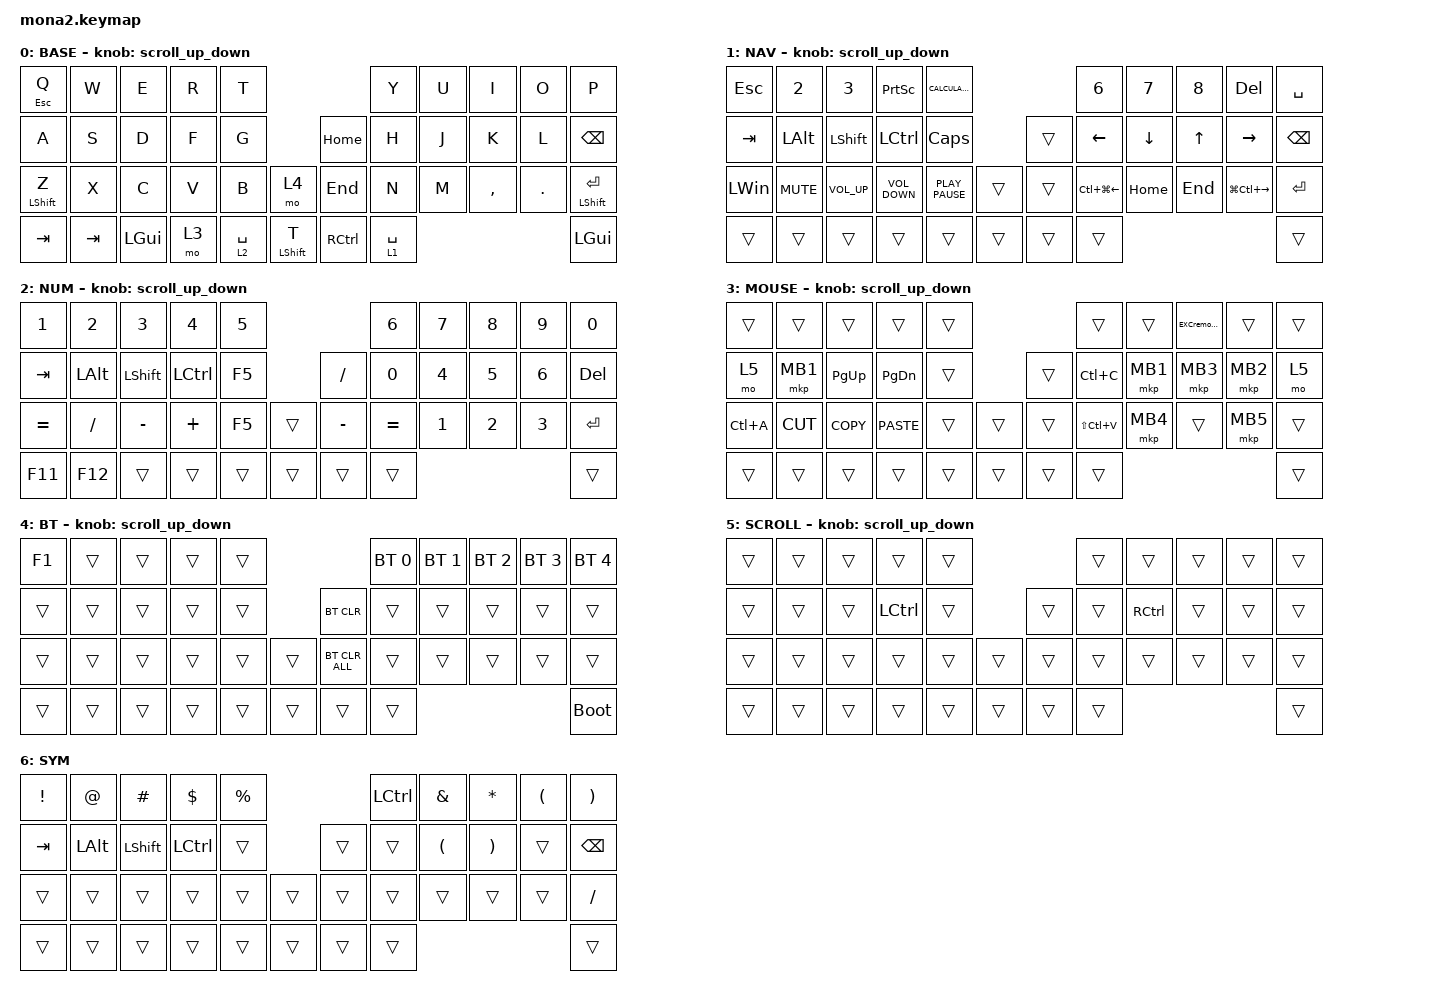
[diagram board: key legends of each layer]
/*
 * SPDX-License-Identifier: MIT
 */

#include <input/processors.dtsi>
#include <dt-bindings/zmk/input_transform.h>
#include <zephyr/dt-bindings/input/input-event-codes.h>
#include <behaviors.dtsi>
#include <dt-bindings/zmk/bt.h>
#include <dt-bindings/zmk/keys.h>
#include <dt-bindings/zmk/pointing.h>

/ {
    combos {
        compatible = "zmk,combos";

        combo2 {
            bindings = <&shortpass>;
            key-positions = <10 11 12 13 17>;
        };

        combo3 {
            bindings = <&longpass>;
            key-positions = <12 13 10 11 17 18 19 20>;
        };

        combo4 {
            bindings = <&mo 5>;
            key-positions = <18 19>;
        };

        combo6 {
            bindings = <&kp RIGHT_BRACE>;
            key-positions = <29 30>;
        };

        combo7 {
            bindings = <&kp NON_US_BACKSLASH>;
            key-positions = <4 5>;
        };

        combo8 {
            bindings = <&kp PIPE>;
            key-positions = <14 15>;
        };

        combo9 {
            bindings = <&kp ENTER>;
            key-positions = <19 20>;
        };

        combo10 {
            bindings = <&mo 5>;
            key-positions = <11 12>;
        };
    };

    behaviors {
        hm: hm {
            compatible = "zmk,behavior-hold-tap";
            label = "HM";
            bindings = <&kp>, <&kp>;

            #binding-cells = <2>;
            quick-tap-ms = <180>;
            flavor = "tap-preferred";
            hold-trigger-on-release;
            tapping-term-ms = <300>;
        };

        ltq: ltq {
            compatible = "zmk,behavior-hold-tap";
            label = "LTQ";
            bindings = <&mo>, <&kp>;

            #binding-cells = <2>;
            tapping-term-ms = <200>;
            quick-tap-ms = <180>;
        };

        scroll_up_down: mouse_wheel_up_down {
            compatible = "zmk,behavior-sensor-rotate";
            #sensor-binding-cells = <0>;
            bindings = <&msc SCRL_DOWN>, <&msc SCRL_UP>;

            tap-ms = <20>;
        };
    };

    macros {
        shortpass: shortpass {
            compatible = "zmk,behavior-macro";
            #binding-cells = <0>;
            bindings = <&none &kp LS(N) &kp U &kp M &kp E &kp N &kp O &kp R &kp I &kp A &kp N &kp O &kp S &kp N1 &kp EXCL>;
            label = "SHORTPASS";
        };

        longpass: longpass {
            compatible = "zmk,behavior-macro";
            #binding-cells = <0>;
            bindings = <&none &kp LS(N) &kp U &kp M &kp E &kp N &kp O &kp R &kp I &kp A &kp N &kp O &kp S &kp N1 &kp EXCL &kp N1 &kp N2 &kp N3 &kp N4 &kp N5 &kp N6 &kp N7 &kp N8 &kp N9>;
            label = "LONGPASS";
        };

        EXCremovedup: EXCremovedup {
            compatible = "zmk,behavior-macro";
            #binding-cells = <0>;
            bindings = <&none &kt LEFT_ALT &kp A &kp M>;
            label = "EXCREMOVEDUP";
        };
    };

    keymap {
        compatible = "zmk,keymap";

        DEFAULT {
            bindings = <
&mt ESCAPE Q      &kp W    &kp E         &kp R  &kp T                                                 &kp Y        &kp U  &kp I      &kp O       &kp P
&kp A             &kp S    &kp D         &kp F  &kp G                              &kp HOME           &kp H        &kp J  &kp K      &kp L       &kp BACKSPACE
&mt LEFT_SHIFT Z  &kp X    &kp C         &kp V  &kp B        &mo 4                 &kp END            &kp N        &kp M  &kp COMMA  &kp PERIOD  &mt LEFT_SHIFT ENTER
&kp TAB           &kp TAB  &kp LEFT_GUI  &mo 3  &lt 2 SPACE  &mt LEFT_SHIFT T      &kp RIGHT_CONTROL  &lt 1 SPACE                                &kp LEFT_GUI
            >;

            sensor-bindings = <&scroll_up_down>;
            display-name = "BASE";
        };

        NAV {
            bindings = <
&kp ESCAPE    &kp NUMBER_2  &kp NUMBER_3     &kp PRINTSCREEN    &kp K_CALCULATOR                      &kp NUMBER_6      &kp N7    &kp N8        &kp DELETE         &kp SPACE
&kp TAB       &kp LEFT_ALT  &kp LEFT_SHIFT   &kp LEFT_CONTROL   &kp CAPSLOCK                  &trans  &kp LEFT          &kp DOWN  &kp UP_ARROW  &kp RIGHT          &kp BACKSPACE
&kp LEFT_WIN  &kp K_MUTE    &kp C_VOLUME_UP  &kp K_VOLUME_DOWN  &kp K_PLAY_PAUSE  &trans      &trans  &kp LC(LG(LEFT))  &kp HOME  &kp END       &kp LG(LC(RIGHT))  &kp ENTER
&trans        &trans        &trans           &trans             &trans            &trans      &trans  &trans                                                       &trans
            >;

            sensor-bindings = <&scroll_up_down>;
            display-name = "NAV";
        };

        NUM {
            bindings = <
&kp NUMBER_1  &kp NUMBER_2  &kp NUMBER_3    &kp NUMBER_4      &kp N5                         &kp NUMBER_6  &kp N7        &kp N8        &kp N9        &kp N0
&kp TAB       &kp LEFT_ALT  &kp LEFT_SHIFT  &kp LEFT_CONTROL  &kp F5              &kp SLASH  &kp N0        &kp NUMBER_4  &kp NUMBER_5  &kp NUMBER_6  &kp DELETE
&kp EQUAL     &kp SLASH     &kp MINUS       &kp PLUS          &kp F5  &trans      &kp MINUS  &kp EQUAL     &kp NUMBER_1  &kp NUMBER_2  &kp NUMBER_3  &kp ENTER
&kp F11       &kp F12       &trans          &trans            &trans  &trans      &trans     &trans                                                  &trans
            >;

            sensor-bindings = <&scroll_up_down>;
            display-name = "NUM";
        };

        MOUSE {
            bindings = <
&trans     &trans     &trans       &trans         &trans                      &trans         &trans    &EXCremovedup  &trans    &trans
&mo 5      &mkp MB1   &kp PAGE_UP  &kp PAGE_DOWN  &trans              &trans  &kp LC(C)      &mkp MB1  &mkp MB3       &mkp MB2  &mo 5
&kp LC(A)  &kp K_CUT  &kp K_COPY   &kp K_PASTE    &trans  &trans      &trans  &kp LS(LC(V))  &mkp MB4  &trans         &mkp MB5  &trans
&trans     &trans     &trans       &trans         &trans  &trans      &trans  &trans                                            &trans
            >;

            sensor-bindings = <&scroll_up_down>;
            display-name = "MOUSE";
        };

        BT {
            bindings = <
&kp F1  &trans  &trans  &trans  &trans                              &bt BT_SEL 0  &bt BT_SEL 1  &bt BT_SEL 2  &bt BT_SEL 3  &bt BT_SEL 4
&trans  &trans  &trans  &trans  &trans              &bt BT_CLR      &trans        &trans        &trans        &trans        &trans
&trans  &trans  &trans  &trans  &trans  &trans      &bt BT_CLR_ALL  &trans        &trans        &trans        &trans        &trans
&trans  &trans  &trans  &trans  &trans  &trans      &trans          &trans                                                  &bootloader
            >;

            sensor-bindings = <&scroll_up_down>;
            display-name = "BT";
        };

        SCROLL {
            bindings = <
&trans  &trans  &trans  &trans            &trans                      &trans  &trans             &trans  &trans  &trans
&trans  &trans  &trans  &kp LEFT_CONTROL  &trans              &trans  &trans  &kp RIGHT_CONTROL  &trans  &trans  &trans
&trans  &trans  &trans  &trans            &trans  &trans      &trans  &trans  &trans             &trans  &trans  &trans
&trans  &trans  &trans  &trans            &trans  &trans      &trans  &trans                                     &trans
            >;

            sensor-bindings = <&scroll_up_down>;
            display-name = "SCROLL";
        };

        SYM {
            bindings = <
&kp EXCLAMATION  &kp AT_SIGN   &kp HASH        &kp DOLLAR        &kp PERCENT                      &kp LCTRL  &kp AMPERSAND         &kp ASTERISK           &kp LEFT_PARENTHESIS  &kp RIGHT_PARENTHESIS
&kp TAB          &kp LEFT_ALT  &kp LEFT_SHIFT  &kp LEFT_CONTROL  &trans                   &trans  &trans     &kp LEFT_PARENTHESIS  &kp RIGHT_PARENTHESIS  &trans                &kp BACKSPACE
&trans           &trans        &trans          &trans            &trans       &trans      &trans  &trans     &trans                &trans                 &trans                &kp SLASH
&trans           &trans        &trans          &trans            &trans       &trans      &trans  &trans                                                                        &trans
            >;
        };
    };

    conditional_layers {
        compatible = "zmk,conditional-layers";

        trilayer-symbol {
            if-layers = <1 2>;
            then-layer = <6>;
        };
    };
};
